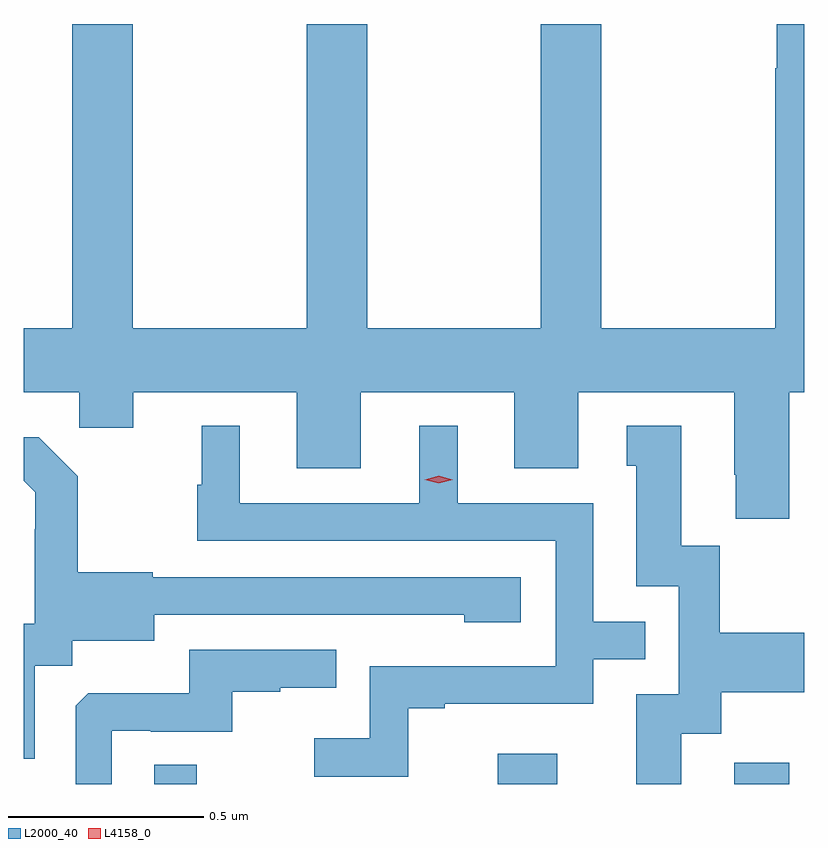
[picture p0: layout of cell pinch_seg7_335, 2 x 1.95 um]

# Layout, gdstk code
import gdstk
lib = gdstk.Library(unit=1e-6, precision=1e-09)
def R(c, l, rs):  # rectangles x0, y0, x1, y1
    for r in rs: c.add(gdstk.rectangle(r[:2], r[2:], *l))
def P(c, l, *ps):  # polygons
    for p in ps: c.add(gdstk.Polygon(p, *l))
L2000_40 = (2000, 40)
L4158_0 = (4158, 0)

pinch_seg7_335 = lib.new_cell('pinch_seg7_335')
R(pinch_seg7_335, L2000_40, [(454.332,1054.225,454.441,1054.274), (455.213,1054.225,455.365,1054.303), (455.819,1054.225,455.959,1054.279)])
P(pinch_seg7_335, L2000_40, [(455.959,1055.228),(455.998,1055.228),(455.998,1056.172),(455.927,1056.172),(455.927,1056.059),(455.923,1056.059),(455.923,1055.392),(455.478,1055.392),(455.478,1056.172),(455.323,1056.172),(455.323,1055.392),(454.878,1055.392),(454.878,1056.172),(454.723,1056.172),(454.723,1055.392),(454.278,1055.392),(454.278,1056.172),(454.123,1056.172),(454.123,1055.392),(453.998,1055.392),(453.998,1055.228),(454.141,1055.228),(454.141,1055.138),(454.279,1055.138),(454.279,1055.228),(454.697,1055.228),(454.697,1055.034),(454.861,1055.034),(454.861,1055.228),(455.255,1055.228),(455.255,1055.034),(455.419,1055.034),(455.419,1055.228),(455.819,1055.228),(455.819,1055.017),(455.822,1055.017),(455.822,1054.905),(455.959,1054.905)],
  [(455.683,1054.354),(455.785,1054.354),(455.785,1054.46),(455.998,1054.46),(455.998,1054.612),(455.781,1054.612),(455.781,1054.835),(455.683,1054.835),(455.683,1055.143),(455.543,1055.143),(455.543,1055.04),(455.567,1055.04),(455.567,1054.731),(455.676,1054.731),(455.676,1054.455),(455.567,1054.455),(455.567,1054.225),(455.683,1054.225)],
  [(454.983,1054.419),(455.077,1054.419),(455.077,1054.431),(455.457,1054.431),(455.457,1054.545),(455.591,1054.545),(455.591,1054.641),(455.457,1054.641),(455.457,1054.944),(455.11,1054.944),(455.11,1055.143),(455.012,1055.143),(455.012,1054.944),(454.552,1054.944),(454.552,1055.143),(454.454,1055.143),(454.454,1054.992),(454.443,1054.992),(454.443,1054.848),(455.361,1054.848),(455.361,1054.527),(454.884,1054.527),(454.884,1054.342),(454.743,1054.342),(454.743,1054.244),(454.983,1054.244)],
  [(454.027,1054.528),(454.122,1054.528),(454.122,1054.592),(454.333,1054.592),(454.333,1054.659),(454.891,1054.659),(454.891,1054.658),(455.127,1054.658),(455.127,1054.64),(455.272,1054.64),(455.272,1054.755),(454.329,1054.755),(454.329,1054.768),(454.137,1054.768),(454.137,1055.013),(454.037,1055.113),(453.998,1055.113),(453.998,1055.002),(454.028,1054.972),(454.028,1054.877),(454.026,1054.877),(454.026,1054.636),(453.998,1054.636),(453.998,1054.29),(454.027,1054.29)],
  [(454.224,1054.362),(454.324,1054.362),(454.324,1054.359),(454.532,1054.359),(454.532,1054.461),(454.655,1054.461),(454.655,1054.472),(454.799,1054.472),(454.799,1054.569),(454.422,1054.569),(454.422,1054.457),(454.163,1054.457),(454.131,1054.425),(454.131,1054.225),(454.224,1054.225)])
P(pinch_seg7_335, L4158_0, [(455.061,1054.995),(455.025,1055.005),(455.025,1055.005),(455.025,1055.005),(455.061,1055.015),(455.097,1055.005),(455.097,1055.005),(455.097,1055.005)])

lib.write_gds('pinch_seg7_335.gds')
